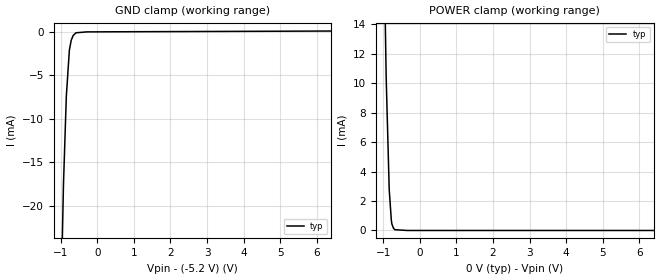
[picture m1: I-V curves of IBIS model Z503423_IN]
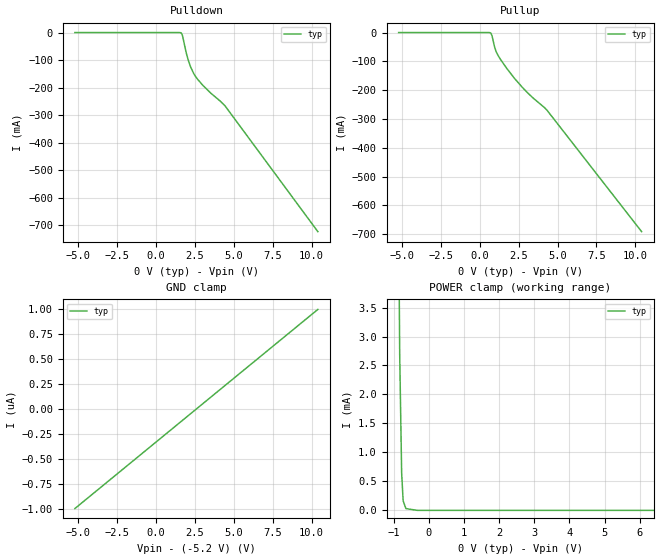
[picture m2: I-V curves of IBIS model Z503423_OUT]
| YOU ARE ONLY AUTHORIZED TO USE THIS SOFTWARE
| ACCORDING TO LICENSOR'S LICENSE RESTRICTIONS.
[IBIS Ver] 3.1
[File Name] mc10el01d.ibs
[File Rev] 2.0
[Source] Measured and created by ICX Technology
[Date] Friday 7/14/00 9:07:50 AM
[Copyright]
| (C) COPYRIGHT 1993-2000
| MENTOR GRAPHICS CORPORATION
| ICX STANDARD LIBRARY, ICX PROJECT MODELING,
| ICX CUSTOM MODELING, ICX VENDOR MODEL
| ALL RIGHTS RESERVED.
| THE FOLLOWING ARE TRADEMARKS OR SERVICE MARKS OF
| MENTOR GRAPHICS CORPORATION:ICX (R), ICX STANDARD
| LIBRARY(R), ICX PROJECT MODELING(R), ICX CUSTOM
| MODELING(R), qualityIBIS(TM), MODELVIEWER(TM),
| AND MODELEDITOR(TM)
| ALL COPIES OF SOFTWARE, INCLUDING BUT NOT LIMITED TO
| ANY MODIFICATIONS, ENHANCEMENTS OR DERIVATIVE WORKS,
| MUST CONTAIN ALL MENTOR GRAPHICS CORPORATION'S
| NOTICES AND LEGENDS, INCLUDING THOSE EMBEDDED IN
| SOFTWARE AND THOSE AFFIXED TO SOFTWARE MEDIUM
| AND CONTAINER, AS RECEIVED FROM MENTOR GRAPHICS
| CORPORATION.
|  ZAP Model Builder 2.7
[Component] MC10EL01D
[Manufacturer] OnSemiconductor
[Package]
| variable   typ   min   max
R_pkg  .152ohms NA NA
L_pkg  2.714nH NA NA
C_pkg  .364pF NA NA
[Pin] signal_name  model_name  R_pin  L_pin C_pin
1 D0 Z503423_IN .154 2.924n .374p
2 D1 Z503423_IN .15 2.504n .354p
3 D2 Z503423_IN .15 2.504n .354p
4 D3 Z503423_IN .154 2.924n .374p
5 VEE POWER .154 2.924n .374p
6 _Q Z503423_OUT .15 2.504n .354p
7 Q Z503423_OUT .15 2.504n .354p
8 VCC POWER .154 2.924n .374p
| Models and submodels in the file (2): Z503423_IN (Input_ECL), Z503423_OUT (Output_ECL)
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| (C) COPYRIGHT 1993-2000
| MENTOR GRAPHICS CORPORATION
| ICX STANDARD LIBRARY, ICX PROJECT MODELING,
| ICX CUSTOM MODELING, ICX VENDOR MODEL
| ALL RIGHTS RESERVED.
| THE FOLLOWING ARE TRADEMARKS OR SERVICE MARKS OF
| MENTOR GRAPHICS CORPORATION:ICX (R), ICX STANDARD
| LIBRARY(R), ICX PROJECT MODELING(R), ICX CUSTOM
| MODELING(R), qualityIBIS(TM), MODELVIEWER(TM),
| AND MODELEDITOR(TM)
| ALL COPIES OF SOFTWARE, INCLUDING BUT NOT LIMITED TO
| ANY MODIFICATIONS, ENHANCEMENTS OR DERIVATIVE WORKS,
| MUST CONTAIN ALL MENTOR GRAPHICS CORPORATION'S
| NOTICES AND LEGENDS, INCLUDING THOSE EMBEDDED IN
| SOFTWARE AND THOSE AFFIXED TO SOFTWARE MEDIUM
| AND CONTAINER, AS RECEIVED FROM MENTOR GRAPHICS
| CORPORATION.
| Model Application Version 1.89 2/18/99.
[Model] Z503423_IN
Model_type Input_ECL
Vinl = -1.480V
Vinh = -1.130V
C_comp 8.000pF NA NA
| variable typ   min   max
[Voltage Range] -5.200V NA NA
[GND Clamp Reference] -5.200V NA NA
[POWER Clamp Reference] 0.000V NA NA
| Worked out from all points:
|   GND clamp passes 1 mA (typ) near -0.72 V on its own axis
|   POWER clamp passes 1 mA (typ) near -0.79 V on its own axis
[GND Clamp]
-5.2V     -873.1mA   NA         NA
-928mV    -17.59mA   NA         NA
-850mV    -7.445mA   NA         NA
-767mV    -2.144mA   NA         NA
-716mV    -979.6uA   NA         NA
-663mV    -440.2uA   NA         NA
-586mV    -126.2uA   NA         NA
-293mV    -20.85uA   NA         NA
10.4V     134.4uA    NA         NA
[POWER Clamp]
-5.2V     1.84A      NA         NA
-1.152V   54.78mA    NA         NA
-1.078V   34.6mA     NA         NA
-922.8mV  10.44mA    NA         NA
-839.3mV  2.787mA    NA         NA
-781.3mV  699.1uA    NA         NA
-766.3mV  440.5uA    NA         NA
-722.9mV  156.8uA    NA         NA
-685.9mV  52.55uA    NA         NA
-342.9mV  0A         NA         NA
10.4V     0A         NA         NA
| (C) COPYRIGHT 1993-2000
| MENTOR GRAPHICS CORPORATION
| ICX STANDARD LIBRARY, ICX PROJECT MODELING,
| ICX CUSTOM MODELING, ICX VENDOR MODEL
| ALL RIGHTS RESERVED.
| THE FOLLOWING ARE TRADEMARKS OR SERVICE MARKS OF
| MENTOR GRAPHICS CORPORATION:ICX (R), ICX STANDARD
| LIBRARY(R), ICX PROJECT MODELING(R), ICX CUSTOM
| MODELING(R), qualityIBIS(TM), MODELVIEWER(TM),
| AND MODELEDITOR(TM)
| ALL COPIES OF SOFTWARE, INCLUDING BUT NOT LIMITED TO
| ANY MODIFICATIONS, ENHANCEMENTS OR DERIVATIVE WORKS,
| MUST CONTAIN ALL MENTOR GRAPHICS CORPORATION'S
| NOTICES AND LEGENDS, INCLUDING THOSE EMBEDDED IN
| SOFTWARE AND THOSE AFFIXED TO SOFTWARE MEDIUM
| AND CONTAINER, AS RECEIVED FROM MENTOR GRAPHICS
| CORPORATION.
| Model Application Version 1.89 2/18/99.
[Model] Z503423_OUT
Model_type Output_ECL
Vref=-2.000V
Rref=50.00ohms
Cref=0.000F
Vmeas=-1.305V
C_comp 8.000pF NA NA
| variable typ   min   max
[Voltage Range] -5.200V NA NA
[POWER Clamp Reference] 0.000V NA NA
[Pullup Reference] 0.000V NA NA
[Pulldown Reference] 0.000V NA NA
[GND Clamp Reference] -5.200V NA NA
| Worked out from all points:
|   POWER clamp passes 1 mA (typ) near -0.78 V on its own axis
[GND Clamp]
-5.2V     -1uA       NA         NA
10.4V     1uA        NA         NA
[Pulldown]
-5.2V     111.7uA    NA         NA
1.623V    -1.552mA   NA         NA
1.709V    -11.46mA   NA         NA
1.943V    -72.28mA   NA         NA
2.07V     -98.96mA   NA         NA
2.241V    -126.4mA   NA         NA
2.436V    -149.6mA   NA         NA
2.564V    -160.8mA   NA         NA
3.027V    -192.2mA   NA         NA
4.429V    -265.2mA   NA         NA
10.4V     -722.4mA   NA         NA
[Pullup]
-5.2V     81.3uA     NA         NA
586.7mV   69.99uA    NA         NA
726.9mV   -2.522mA   NA         NA
795.4mV   -11.33mA   NA         NA
952.4mV   -48.6mA    NA         NA
1.051V    -65.51mA   NA         NA
1.324V    -92mA      NA         NA
1.729V    -123.5mA   NA         NA
2.734V    -189.8mA   NA         NA
3.41V     -226.2mA   NA         NA
4.341V    -270.8mA   NA         NA
10.4V     -691.3mA   NA         NA
[POWER Clamp]
-5.2V     350.6mA    NA         NA
-825.2mV  2.692mA    NA         NA
-770mV    643.3uA    NA         NA
-727mV    163.5uA    NA         NA
-649mV    30.6uA     NA         NA
-324.5mV  0A         NA         NA
10.4V     0A         NA         NA
[Ramp]
| variable typ min max
dV/dt_r 498.6m/608.0p NA NA
dV/dt_f 498.6m/504.3p NA NA
R_load = 50.00Ohms
